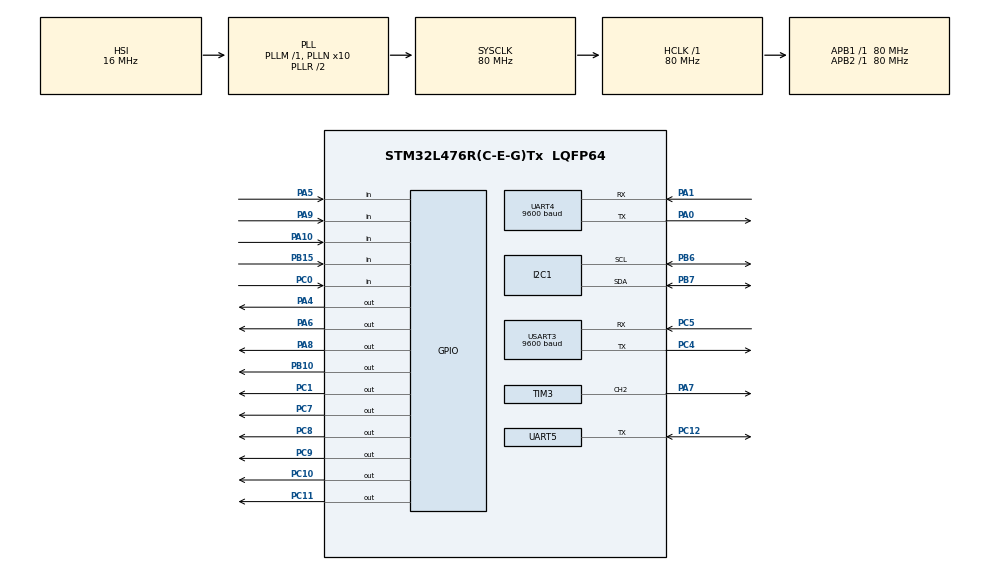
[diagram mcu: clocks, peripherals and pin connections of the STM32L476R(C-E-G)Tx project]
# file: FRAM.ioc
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I2C1.Timing=0x10D19CE4
Mcu.Family=STM32L4
Mcu.Name=STM32L476R(C-E-G)Tx
Mcu.Package=LQFP64
NVIC.PriorityGroup=NVIC_PRIORITYGROUP_4
NVIC.UART4_IRQn=true\:0\:0\:false\:false\:true\:true\:true\:true
PA0.Mode=Asynchronous
PA0.Signal=UART4_TX
PA1.Mode=Asynchronous
PA1.Signal=UART4_RX
PA10.GPIO_PuPd=GPIO_PULLUP
PA10.Signal=GPIO_Input
PA4.Signal=GPIO_Output
PA5.Signal=GPIO_Input
PA6.Signal=GPIO_Output
PA7.Signal=S_TIM3_CH2
PA8.Signal=GPIO_Output
PA9.GPIO_PuPd=GPIO_PULLUP
PA9.Signal=GPIO_Input
PB10.Signal=GPIO_Output
PB15.Signal=GPIO_Input
PB6.Mode=I2C
PB6.Signal=I2C1_SCL
PB7.Mode=I2C
PB7.Signal=I2C1_SDA
PC0.Signal=GPIO_Input
PC1.Signal=GPIO_Output
PC10.Signal=GPIO_Output
PC11.Signal=GPIO_Output
PC12.Mode=Half_duplex(single_wire_mode)
PC12.Signal=UART5_TX
PC4.Mode=Asynchronous
PC4.Signal=USART3_TX
PC5.Mode=Asynchronous
PC5.Signal=USART3_RX
PC7.Signal=GPIO_Output
PC8.Signal=GPIO_Output
PC9.Signal=GPIO_Output
PD2.Signal=UART5_RX
ProjectManager.HeapSize=0x200
ProjectManager.StackSize=0x400
ProjectManager.TargetToolchain=STM32CubeIDE
RCC.ADCFreq_Value=64000000
RCC.AHBFreq_Value=80000000
RCC.APB1Freq_Value=80000000
RCC.APB1TimFreq_Value=80000000
RCC.APB2Freq_Value=80000000
RCC.APB2TimFreq_Value=80000000
RCC.CortexFreq_Value=80000000
RCC.HCLKFreq_Value=80000000
RCC.HSE_VALUE=8000000
RCC.HSI_VALUE=16000000
RCC.LSE_VALUE=32768
RCC.MSI_VALUE=4000000
RCC.PLLN=10
RCC.PLLSourceVirtual=RCC_PLLSOURCE_HSI
RCC.PREFETCH_ENABLE=1
RCC.SYSCLKFreq_VALUE=80000000
RCC.SYSCLKSource=RCC_SYSCLKSOURCE_PLLCLK
RCC.USBFreq_Value=64000000
RCC.VCOOutputFreq_Value=160000000
SH.S_TIM3_CH2.0=TIM3_CH2,PWM Generation2 CH2
TIM16.Prescaler=79
TIM3.Channel-PWM\ Generation2\ CH2=TIM_CHANNEL_2
TIM3.OC2Preload_PWM=DISABLE
TIM3.Period=999
TIM3.Prescaler=79
TIM3.Pulse-PWM\ Generation2\ CH2=999
UART4.BaudRate=9600
UART5.BaudRate=9600
USART3.BaudRate=9600
USART3.VirtualMode-Asynchronous=VM_ASYNC
VP_TIM16_VS_ClockSourceINT.Mode=Enable_Timer
VP_TIM3_VS_ClockSourceINT.Mode=Internal
board=NUCLEO-L476RG

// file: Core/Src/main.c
/* USER CODE BEGIN Header */
/**
 ******************************************************************************
 * @file           : main.c
 * @brief          : Main program body
 ******************************************************************************
 * @attention
 *
 * Copyright (c) 2025 STMicroelectronics.
 * All rights reserved.
 *
 * This software is licensed under terms that can be found in the LICENSE file
 * in the root directory of this software component.
 * If no LICENSE file comes with this software, it is provided AS-IS.
 *
 ******************************************************************************
 */
/* USER CODE END Header */
#include "main.h"
#include "motor.h"
#include "spectrum.h"
#include "FRAM.h"
#include <stdio.h>
#include <string.h>
/* USER CODE BEGIN Includes */
uint16_t currentState = 255;
uint8_t uartRxBuffer[1];
int case2step = 343;

/* USER CODE END Includes */

I2C_HandleTypeDef hi2c1;

TIM_HandleTypeDef htim3;
TIM_HandleTypeDef htim16;

UART_HandleTypeDef huart4;
UART_HandleTypeDef huart5;
UART_HandleTypeDef huart3;

/* USER CODE BEGIN PV */
  // To store received char via interrupt

/* USER CODE END PV */

void SystemClock_Config(void);
static void MX_GPIO_Init(void);
static void MX_I2C1_Init(void);
static void MX_TIM3_Init(void);
static void MX_UART4_Init(void);
static void MX_UART5_Init(void);
static void MX_USART3_UART_Init(void);
static void MX_TIM16_Init(void);
void DWT_Init(void);

/* USER CODE BEGIN 0 */

int _write(int file, char *ptr, int len) {
	HAL_UART_Transmit(&huart4, (uint8_t*) ptr, len, HAL_MAX_DELAY);
	return len;
}

void HAL_UART_RxCpltCallback(UART_HandleTypeDef *huart)
{
    if (huart->Instance == UART4) {
        uint8_t receivedChar = uartRxBuffer[0];
        if (receivedChar >= '0' && receivedChar <= '9') {
            currentState = receivedChar - '0';
        }

        // Restart UART reception
        HAL_UART_Receive_IT(&huart4, uartRxBuffer, 1);
    }
}

/* USER CODE END 0 */

int main(void)
{

  /* MCU Configuration--------------------------------------------------------*/

  /* Reset of all peripherals, Initializes the Flash interface and the Systick. */
  HAL_Init();

  /* Configure the system clock */
  SystemClock_Config();

  /* Initialize all configured peripherals */
  MX_GPIO_Init();
  MX_I2C1_Init();
  MX_TIM3_Init();
  MX_UART4_Init();
  MX_UART5_Init();
  MX_USART3_UART_Init();
  MX_TIM16_Init();
  /* USER CODE BEGIN 2 */
//	setupSensor();
//	setupMotor();
//
//	uint8_t flag = 0;
//
//	HAL_UART_Receive_IT(&huart4, uartRxBuffer, 1);  // Start UART interrupt

  /* USER CODE END 2 */

  /* Infinite loop */
  /* USER CODE BEGIN WHILE */
	while (1) {
		  Parameter_Write(Result_Success, 1458.360); //
		        Parameter_Read(Result_Success); // Read parameter from Result_Success address
		        HAL_Delay(10000);

//		switch (currentState) {
//		        case 0:
//
//		        	lampOff();
//		        	while(currentState == 0){
//
//		            homePosition();
//		        	}
//
//		            currentState = 255;
//		            flag = 0;
//		           // HAL_Delay(1000);
//		            break;
//
//
//		        case 1:
//
//		            lampOn();
//		           // while(currentState == 1){
//		                rotateMotor(5100, 1);
//		           // }
//		            printf("Scan Initialized\r\n");
//		            currentState = 255;
//		            flag = 0;
//
//		            //HAL_Delay(1000);
//		            break;
//
//		        case 2:
//
//		        	// while(currentState == 2 ){
//		            printf("Taking Scan\r\n");
//		            for (int stage = 0; stage < 14; stage++) {
//		            	 if (currentState != 2)
//		            	 {
//		            		currentState = 255;
//							break;
//		            	 }
//		                rotateMotor(case2step, 1);
//
//		                for (int scan = 0; scan < 3; scan++) {
//		                    printf("Scan %d_%d\r\n", stage + 1, scan + 1);
//
//		                    //wait for 0.5 second
//		                    HAL_Delay(500);
//
//		                    acquireSpectra();
//		                    // Read and print spectra data
//		                    for (int channel = 0; channel < CHANNELS; channel++) {
//		                        printf("Channel %d: %d\r\n", channel, spectra[channel]);
//
//		                    }
//		                    // Waits 1 second before allowing the next acquisition
//		                    HAL_Delay(1000);
//		                }
//		            }
//		        	// }
//		            printf("Scan Finished\r\n");
//		            currentState = 255;
//		            flag = 0;
//
//
//		            break;
//
//		        case 3:
//
//		            lampOff();
//		            //while(currentState == 3){
//		            rotateMotor(9555, 0);
//		            printf("Sample Discarded\r\n");
//		            //}
//		            currentState = 255;
//		            flag = 0;
//
//		            break;
//
//		        case 255:
//		        	break;
//
//		        default:
//
//		        	printf("Invalid input! Please enter 0, 1, 2, or 3\r\n");
//                    flag =1;
//
//		        	currentState = 255;
//		            break;
//		    }
//
//		    HAL_Delay(100);

    /* USER CODE END WHILE */

	}
}

void SystemClock_Config(void)
{
  RCC_OscInitTypeDef RCC_OscInitStruct = {0};
  RCC_ClkInitTypeDef RCC_ClkInitStruct = {0};

  /** Configure the main internal regulator output voltage
  */
  if (HAL_PWREx_ControlVoltageScaling(PWR_REGULATOR_VOLTAGE_SCALE1) != HAL_OK)
  {
    Error_Handler();
  }

  /** Initializes the RCC Oscillators according to the specified parameters
  * in the RCC_OscInitTypeDef structure.
  */
  RCC_OscInitStruct.OscillatorType = RCC_OSCILLATORTYPE_HSI;
  RCC_OscInitStruct.HSIState = RCC_HSI_ON;
  RCC_OscInitStruct.HSICalibrationValue = RCC_HSICALIBRATION_DEFAULT;
  RCC_OscInitStruct.PLL.PLLState = RCC_PLL_ON;
  RCC_OscInitStruct.PLL.PLLSource = RCC_PLLSOURCE_HSI;
  RCC_OscInitStruct.PLL.PLLM = 1;
  RCC_OscInitStruct.PLL.PLLN = 10;
  RCC_OscInitStruct.PLL.PLLP = RCC_PLLP_DIV7;
  RCC_OscInitStruct.PLL.PLLQ = RCC_PLLQ_DIV2;
  RCC_OscInitStruct.PLL.PLLR = RCC_PLLR_DIV2;
  if (HAL_RCC_OscConfig(&RCC_OscInitStruct) != HAL_OK)
  {
    Error_Handler();
  }

  /** Initializes the CPU, AHB and APB buses clocks
  */
  RCC_ClkInitStruct.ClockType = RCC_CLOCKTYPE_HCLK|RCC_CLOCKTYPE_SYSCLK
                              |RCC_CLOCKTYPE_PCLK1|RCC_CLOCKTYPE_PCLK2;
  RCC_ClkInitStruct.SYSCLKSource = RCC_SYSCLKSOURCE_PLLCLK;
  RCC_ClkInitStruct.AHBCLKDivider = RCC_SYSCLK_DIV1;
  RCC_ClkInitStruct.APB1CLKDivider = RCC_HCLK_DIV1;
  RCC_ClkInitStruct.APB2CLKDivider = RCC_HCLK_DIV1;

  if (HAL_RCC_ClockConfig(&RCC_ClkInitStruct, FLASH_LATENCY_4) != HAL_OK)
  {
    Error_Handler();
  }
}

static void MX_I2C1_Init(void)
{

  hi2c1.Instance = I2C1;
  hi2c1.Init.Timing = 0x10D19CE4;
  hi2c1.Init.OwnAddress1 = 0;
  hi2c1.Init.AddressingMode = I2C_ADDRESSINGMODE_7BIT;
  hi2c1.Init.DualAddressMode = I2C_DUALADDRESS_DISABLE;
  hi2c1.Init.OwnAddress2 = 0;
  hi2c1.Init.OwnAddress2Masks = I2C_OA2_NOMASK;
  hi2c1.Init.GeneralCallMode = I2C_GENERALCALL_DISABLE;
  hi2c1.Init.NoStretchMode = I2C_NOSTRETCH_DISABLE;
  if (HAL_I2C_Init(&hi2c1) != HAL_OK)
  {
    Error_Handler();
  }

  /** Configure Analogue filter
  */
  if (HAL_I2CEx_ConfigAnalogFilter(&hi2c1, I2C_ANALOGFILTER_ENABLE) != HAL_OK)
  {
    Error_Handler();
  }

  /** Configure Digital filter
  */
  if (HAL_I2CEx_ConfigDigitalFilter(&hi2c1, 0) != HAL_OK)
  {
    Error_Handler();
  }

}

static void MX_TIM3_Init(void)
{

  TIM_ClockConfigTypeDef sClockSourceConfig = {0};
  TIM_MasterConfigTypeDef sMasterConfig = {0};
  TIM_OC_InitTypeDef sConfigOC = {0};

  htim3.Instance = TIM3;
  htim3.Init.Prescaler = 79;
  htim3.Init.CounterMode = TIM_COUNTERMODE_UP;
  htim3.Init.Period = 999;
  htim3.Init.ClockDivision = TIM_CLOCKDIVISION_DIV1;
  htim3.Init.AutoReloadPreload = TIM_AUTORELOAD_PRELOAD_DISABLE;
  if (HAL_TIM_Base_Init(&htim3) != HAL_OK)
  {
    Error_Handler();
  }
  sClockSourceConfig.ClockSource = TIM_CLOCKSOURCE_INTERNAL;
  if (HAL_TIM_ConfigClockSource(&htim3, &sClockSourceConfig) != HAL_OK)
  {
    Error_Handler();
  }
  if (HAL_TIM_PWM_Init(&htim3) != HAL_OK)
  {
    Error_Handler();
  }
  sMasterConfig.MasterOutputTrigger = TIM_TRGO_RESET;
  sMasterConfig.MasterSlaveMode = TIM_MASTERSLAVEMODE_DISABLE;
  if (HAL_TIMEx_MasterConfigSynchronization(&htim3, &sMasterConfig) != HAL_OK)
  {
    Error_Handler();
  }
  sConfigOC.OCMode = TIM_OCMODE_PWM1;
  sConfigOC.Pulse = 999;
  sConfigOC.OCPolarity = TIM_OCPOLARITY_HIGH;
  sConfigOC.OCFastMode = TIM_OCFAST_DISABLE;
  if (HAL_TIM_PWM_ConfigChannel(&htim3, &sConfigOC, TIM_CHANNEL_2) != HAL_OK)
  {
    Error_Handler();
  }
  __HAL_TIM_DISABLE_OCxPRELOAD(&htim3, TIM_CHANNEL_2);
  HAL_TIM_MspPostInit(&htim3);

}

static void MX_TIM16_Init(void)
{

  htim16.Instance = TIM16;
  htim16.Init.Prescaler = 79;
  htim16.Init.CounterMode = TIM_COUNTERMODE_UP;
  htim16.Init.Period = 65535;
  htim16.Init.ClockDivision = TIM_CLOCKDIVISION_DIV1;
  htim16.Init.RepetitionCounter = 0;
  htim16.Init.AutoReloadPreload = TIM_AUTORELOAD_PRELOAD_DISABLE;
  if (HAL_TIM_Base_Init(&htim16) != HAL_OK)
  {
    Error_Handler();
  }

}

static void MX_UART4_Init(void)
{

  huart4.Instance = UART4;
  huart4.Init.BaudRate = 9600;
  huart4.Init.WordLength = UART_WORDLENGTH_8B;
  huart4.Init.StopBits = UART_STOPBITS_1;
  huart4.Init.Parity = UART_PARITY_NONE;
  huart4.Init.Mode = UART_MODE_TX_RX;
  huart4.Init.HwFlowCtl = UART_HWCONTROL_NONE;
  huart4.Init.OverSampling = UART_OVERSAMPLING_16;
  huart4.Init.OneBitSampling = UART_ONE_BIT_SAMPLE_DISABLE;
  huart4.AdvancedInit.AdvFeatureInit = UART_ADVFEATURE_NO_INIT;
  if (HAL_UART_Init(&huart4) != HAL_OK)
  {
    Error_Handler();
  }

}

static void MX_UART5_Init(void)
{

  huart5.Instance = UART5;
  huart5.Init.BaudRate = 9600;
  huart5.Init.WordLength = UART_WORDLENGTH_8B;
  huart5.Init.StopBits = UART_STOPBITS_1;
  huart5.Init.Parity = UART_PARITY_NONE;
  huart5.Init.Mode = UART_MODE_TX_RX;
  huart5.Init.HwFlowCtl = UART_HWCONTROL_NONE;
  huart5.Init.OverSampling = UART_OVERSAMPLING_16;
  huart5.Init.OneBitSampling = UART_ONE_BIT_SAMPLE_DISABLE;
  huart5.AdvancedInit.AdvFeatureInit = UART_ADVFEATURE_NO_INIT;
  if (HAL_HalfDuplex_Init(&huart5) != HAL_OK)
  {
    Error_Handler();
  }

}

static void MX_USART3_UART_Init(void)
{

  huart3.Instance = USART3;
  huart3.Init.BaudRate = 9600;
  huart3.Init.WordLength = UART_WORDLENGTH_8B;
  huart3.Init.StopBits = UART_STOPBITS_1;
  huart3.Init.Parity = UART_PARITY_NONE;
  huart3.Init.Mode = UART_MODE_TX_RX;
  huart3.Init.HwFlowCtl = UART_HWCONTROL_NONE;
  huart3.Init.OverSampling = UART_OVERSAMPLING_16;
  huart3.Init.OneBitSampling = UART_ONE_BIT_SAMPLE_DISABLE;
  huart3.AdvancedInit.AdvFeatureInit = UART_ADVFEATURE_NO_INIT;
  if (HAL_UART_Init(&huart3) != HAL_OK)
  {
    Error_Handler();
  }

}

static void MX_GPIO_Init(void)
{
  GPIO_InitTypeDef GPIO_InitStruct = {0};

  /* GPIO Ports Clock Enable */
  __HAL_RCC_GPIOC_CLK_ENABLE();
  __HAL_RCC_GPIOA_CLK_ENABLE();
  __HAL_RCC_GPIOB_CLK_ENABLE();
  __HAL_RCC_GPIOD_CLK_ENABLE();

  /*Configure GPIO pin Output Level */
  HAL_GPIO_WritePin(GPIOC, GPIO_PIN_1|GPIO_PIN_7|GPIO_PIN_8|GPIO_PIN_9
                          |GPIO_PIN_10|GPIO_PIN_11, GPIO_PIN_RESET);

  /*Configure GPIO pin Output Level */
  HAL_GPIO_WritePin(GPIOA, GPIO_PIN_4|GPIO_PIN_6|GPIO_PIN_8, GPIO_PIN_RESET);

  /*Configure GPIO pin Output Level */
  HAL_GPIO_WritePin(GPIOB, GPIO_PIN_10, GPIO_PIN_RESET);

  /*Configure GPIO pin : PC0 */
  GPIO_InitStruct.Pin = GPIO_PIN_0;
  GPIO_InitStruct.Mode = GPIO_MODE_INPUT;
  GPIO_InitStruct.Pull = GPIO_NOPULL;
  HAL_GPIO_Init(GPIOC, &GPIO_InitStruct);

  /*Configure GPIO pins : PC1 PC7 PC8 PC9
                           PC10 PC11 */
  GPIO_InitStruct.Pin = GPIO_PIN_1|GPIO_PIN_7|GPIO_PIN_8|GPIO_PIN_9
                          |GPIO_PIN_10|GPIO_PIN_11;
  GPIO_InitStruct.Mode = GPIO_MODE_OUTPUT_PP;
  GPIO_InitStruct.Pull = GPIO_NOPULL;
  GPIO_InitStruct.Speed = GPIO_SPEED_FREQ_LOW;
  HAL_GPIO_Init(GPIOC, &GPIO_InitStruct);

  /*Configure GPIO pins : PA4 PA6 PA8 */
  GPIO_InitStruct.Pin = GPIO_PIN_4|GPIO_PIN_6|GPIO_PIN_8;
  GPIO_InitStruct.Mode = GPIO_MODE_OUTPUT_PP;
  GPIO_InitStruct.Pull = GPIO_NOPULL;
  GPIO_InitStruct.Speed = GPIO_SPEED_FREQ_LOW;
  HAL_GPIO_Init(GPIOA, &GPIO_InitStruct);

  /*Configure GPIO pin : PA5 */
  GPIO_InitStruct.Pin = GPIO_PIN_5;
  GPIO_InitStruct.Mode = GPIO_MODE_INPUT;
  GPIO_InitStruct.Pull = GPIO_NOPULL;
  HAL_GPIO_Init(GPIOA, &GPIO_InitStruct);

  /*Configure GPIO pin : PB10 */
  GPIO_InitStruct.Pin = GPIO_PIN_10;
  GPIO_InitStruct.Mode = GPIO_MODE_OUTPUT_PP;
  GPIO_InitStruct.Pull = GPIO_NOPULL;
  GPIO_InitStruct.Speed = GPIO_SPEED_FREQ_LOW;
  HAL_GPIO_Init(GPIOB, &GPIO_InitStruct);

  /*Configure GPIO pin : PB15 */
  GPIO_InitStruct.Pin = GPIO_PIN_15;
  GPIO_InitStruct.Mode = GPIO_MODE_INPUT;
  GPIO_InitStruct.Pull = GPIO_NOPULL;
  HAL_GPIO_Init(GPIOB, &GPIO_InitStruct);

  /*Configure GPIO pins : PA9 PA10 */
  GPIO_InitStruct.Pin = GPIO_PIN_9|GPIO_PIN_10;
  GPIO_InitStruct.Mode = GPIO_MODE_INPUT;
  GPIO_InitStruct.Pull = GPIO_PULLUP;
  HAL_GPIO_Init(GPIOA, &GPIO_InitStruct);

}

void Error_Handler(void)
{
	__disable_irq();
	while (1) {
	}
}
